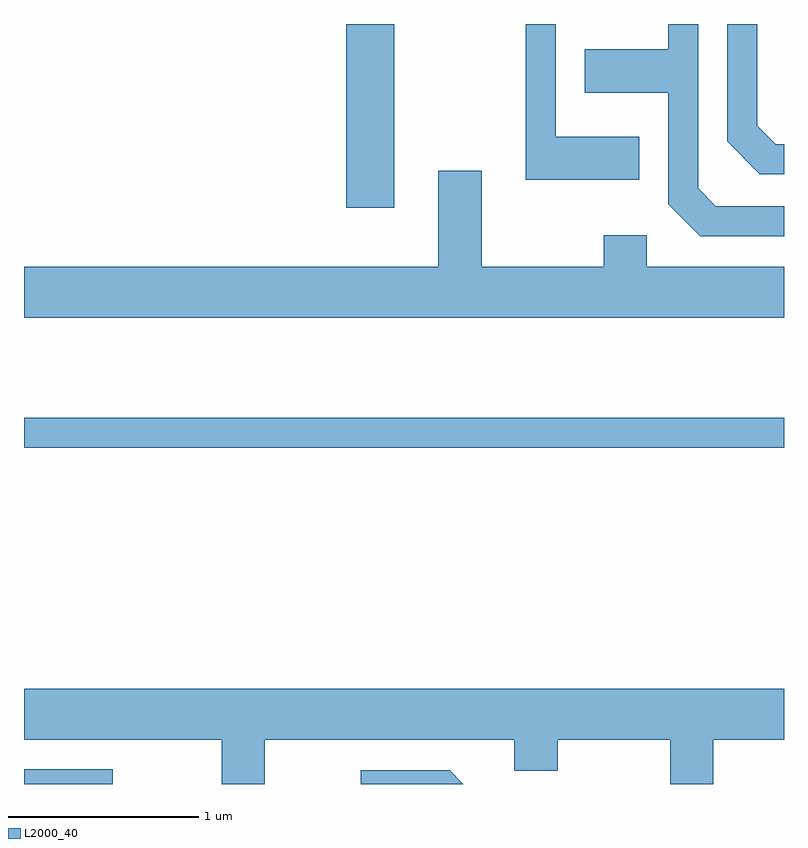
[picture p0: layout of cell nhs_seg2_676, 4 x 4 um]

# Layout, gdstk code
import gdstk
lib = gdstk.Library(unit=1e-6, precision=1e-09)
def R(c, l, rs):  # rectangles x0, y0, x1, y1
    for r in rs: c.add(gdstk.rectangle(r[:2], r[2:], *l))
def P(c, l, *ps):  # polygons
    for p in ps: c.add(gdstk.Polygon(p, *l))
L2000_40 = (2000, 40)

nhs_seg2_676 = lib.new_cell('nhs_seg2_676')
R(nhs_seg2_676, L2000_40, [(203.611,1105.802,204.079,1105.879), (203.611,1107.571,207.611,1107.729), (205.306,1108.836,205.559,1109.802)])
P(nhs_seg2_676, L2000_40, [(207.611,1108.844),(207.252,1108.844),(207.159,1108.937),(207.159,1109.802),(207.001,1109.802),(207.001,1109.669),(206.561,1109.669),(206.561,1109.441),(207.001,1109.441),(207.001,1108.854),(207.169,1108.686),(207.611,1108.686)],
  [(207.611,1109.169),(207.567,1109.169),(207.469,1109.267),(207.469,1109.802),(207.311,1109.802),(207.311,1109.184),(207.484,1109.011),(207.611,1109.011)],
  [(206.849,1109.209),(206.409,1109.209),(206.409,1109.802),(206.251,1109.802),(206.251,1108.981),(206.849,1108.981)],
  [(207.611,1108.524),(206.889,1108.524),(206.889,1108.689),(206.661,1108.689),(206.661,1108.524),(206.019,1108.524),(206.019,1109.029),(205.791,1109.029),(205.791,1108.524),(203.611,1108.524),(203.611,1108.256),(207.611,1108.256)],
  [(204.879,1106.036),(206.191,1106.036),(206.191,1105.871),(206.419,1105.871),(206.419,1106.036),(207.011,1106.036),(207.011,1105.802),(207.239,1105.802),(207.239,1106.036),(207.611,1106.036),(207.611,1106.304),(203.611,1106.304),(203.611,1106.036),(204.651,1106.036),(204.651,1105.802),(204.879,1105.802)],
  [(205.852,1105.874),(205.383,1105.874),(205.383,1105.802),(205.924,1105.802)])

lib.write_gds('nhs_seg2_676.gds')
